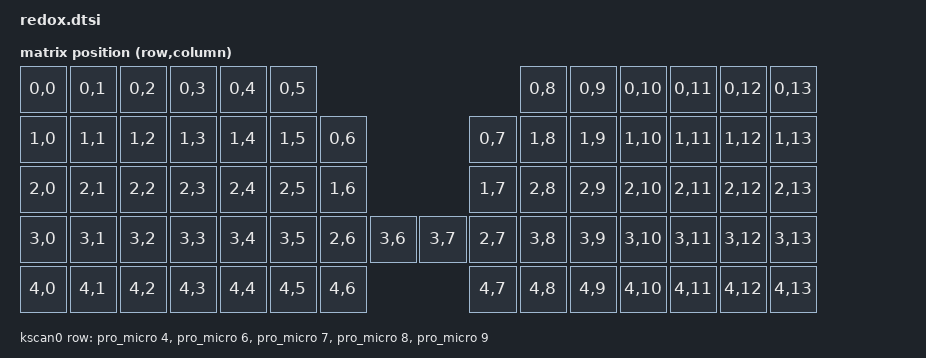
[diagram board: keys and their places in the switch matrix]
/*
 * Copyright (c) 2021 The ZMK Contributors
 *
 * SPDX-License-Identifier: MIT
 */

#include <dt-bindings/zmk/matrix_transform.h>

/ {
    chosen {
        zmk,kscan = &kscan0;
        zmk,matrix_transform = &default_transform;
    };

    default_transform: keymap_transform_0 {
        compatible = "zmk,matrix-transform";
        columns = <14>;
        rows = <5>;
// | SW1  | SW2  | SW3  | SW4  | SW5  | SW6  |                               | SW6  | SW5  | SW4  | SW3  | SW2  | SW1  |
// | SW7  | SW8  | SW9  | SW10 | SW11 | SW12 | SW13 |                 | SW13 | SW12 | SW11 | SW10 | SW9  | SW8  | SW7  |
// | SW14 | SW15 | SW16 | SW17 | SW18 | SW19 | SW20 |                 | SW20 | SW19 | SW18 | SW17 | SW16 | SW15 | SW14 |
// | SW21 | SW22 | SW23 | SW24 | SW25 | SW26 | SW27 | SW28 |   | SW28 | SW27 | SW26 | SW25 | SW24 | SW23 | SW22 | SW21 |
// | SW29 | SW30 | SW31 | SW32 |     SW33    | SW34 | SW35 |   | SW35 | SW34 |     SW33    | SW32 | SW31 | SW30 | SW29 |
        map = <
RC(0,0) RC(0,1) RC(0,2) RC(0,3) RC(0,4) RC(0,5)                                 RC(0,8) RC(0,9)  RC(0,10) RC(0,11) RC(0,12) RC(0,13)
RC(1,0) RC(1,1) RC(1,2) RC(1,3) RC(1,4) RC(1,5) RC(0,6)                 RC(0,7) RC(1,8) RC(1,9)  RC(1,10) RC(1,11) RC(1,12) RC(1,13)
RC(2,0) RC(2,1) RC(2,2) RC(2,3) RC(2,4) RC(2,5) RC(1,6)                 RC(1,7) RC(2,8) RC(2,9)  RC(2,10) RC(2,11) RC(2,12) RC(2,13)
RC(3,0) RC(3,1) RC(3,2) RC(3,3) RC(3,4) RC(3,5) RC(2,6) RC(3,6) RC(3,7) RC(2,7) RC(3,8) RC(3,9)  RC(3,10) RC(3,11) RC(3,12) RC(3,13)
RC(4,0) RC(4,1) RC(4,2) RC(4,3)      RC(4,4)    RC(4,5) RC(4,6) RC(4,7) RC(4,8)     RC(4,9)      RC(4,10) RC(4,11) RC(4,12) RC(4,13)
        >;
    };

    kscan0: kscan {
        compatible = "zmk,kscan-gpio-matrix";

        diode-direction = "col2row";
        row-gpios
            = <&pro_micro 4 (GPIO_ACTIVE_HIGH | GPIO_PULL_DOWN)>
            , <&pro_micro 6 (GPIO_ACTIVE_HIGH | GPIO_PULL_DOWN)>
            , <&pro_micro 7 (GPIO_ACTIVE_HIGH | GPIO_PULL_DOWN)>
            , <&pro_micro 8 (GPIO_ACTIVE_HIGH | GPIO_PULL_DOWN)>
            , <&pro_micro 9 (GPIO_ACTIVE_HIGH | GPIO_PULL_DOWN)>
            ;

    };

};
